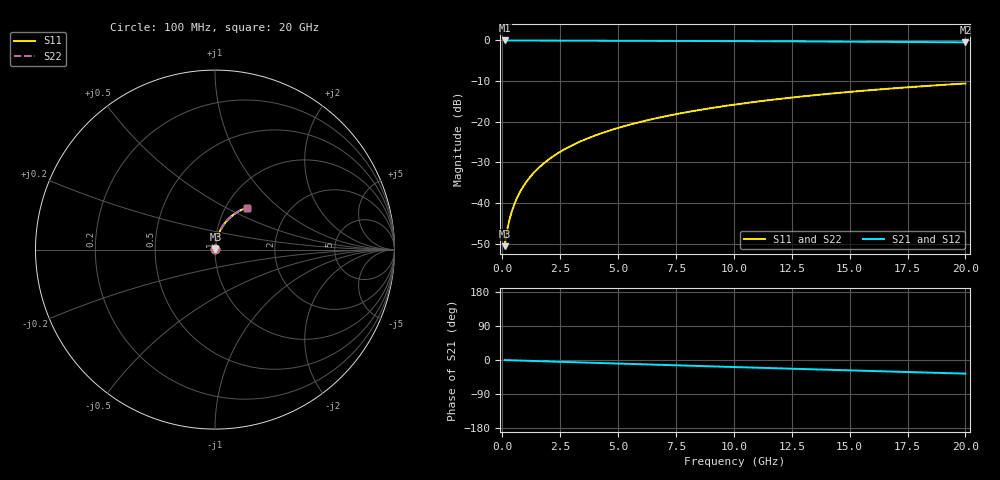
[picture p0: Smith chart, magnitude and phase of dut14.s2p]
! Touchstone file exported from HFSS 2026.1.0
!  File:  C:/ffzhzh/LocalFiles/Ansys_Project_Files/temp_val_BSMRDL_14_1782903282_43084.aedt
!  Generated:  06:55:55 PM Jul  1, 2026
!  Design:  BSMRDL
!  Project:  temp_val_BSMRDL_14_1782903282_43084
! Variables:
!  h_bsmrdl = 3.41um
!  h_ox = 20um
!  h_rdl = 5um
!  h_sub = 80um
!  h_tmrdl = 5um
!  h_tsv = 80um
!  h_via = 3um
!  l_bsmrdl = 530um
!  l_sub = 930um
!  l_tmrdl = 200um
!  m_sub = 200um
!  pitch = 51.17um
!  r_tsv = 6um
!  s_tmrdl = 10um
!  w_bsmrdl = 28.1um
!  w_sub = 500um
!  w_tmrdl = 12um
!  x_tsv_center1 = 206um
!  x_tsv_center2 = 764.1um
!  x_tsv_center3 = 976.1um
!  x_tsv_center4 = 1534.2um
!  x_tsv_center5 = 1746.2um
!  x_tsv_center6 = 2304.3um
# GHz S MA R 50.000000
! Terminal data exported
! Port[1] = BSM_RDL1_1_T1
! Port[2] = BSM_RDL1_1_T2
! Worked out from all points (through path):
!   200 points, 100 MHz to 20 GHz, reference 50 ohm
!   highest |S21| = -0.02 dB at 100 MHz (marker M1); lowest = -0.5 dB at 20 GHz (marker M2)
!   group delay of S21, straight-line fit = 4.99 ps
!   lowest |S11| = -50.6 dB at 100 MHz (marker M3), VSWR 1.01, Z = 50.2 + j0.194 ohm
!   |S11| at or under -10 dB: start of sweep to end of sweep
!   |S22| runs from -50.6 to -10.6 dB; largest |S21 - S12| = 3.1e-15
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0.1  0.002951 40.8  0.9978 -0.2  0.9978 -0.2  0.002951 40.8
! Gamma 0 0 0 0
! Port Impedance 50 0 50 0
0.2  0.00447 57.4  0.9976 -0.4  0.9976 -0.4  0.00447 57.4
0.3  0.00609 64.8  0.9974 -0.6  0.9974 -0.6  0.006091 64.8
0.4  0.007712 69.0  0.9973 -0.8  0.9973 -0.8  0.007712 69.0
0.5  0.009332 71.8  0.9972 -1.0  0.9972 -1.0  0.009332 71.8
0.6  0.01096 73.9  0.9971 -1.2  0.9971 -1.2  0.01096 73.9
0.8  0.01424 76.6  0.997 -1.5  0.997 -1.5  0.01424 76.6
1.1  0.01921 78.9  0.9968 -2.1  0.9968 -2.1  0.01921 78.9
1.3  0.02254 79.7  0.9967 -2.5  0.9967 -2.5  0.02254 79.7
1.6  0.02757 80.4  0.9965 -3.0  0.9965 -3.0  0.02757 80.4
2.1  0.03595 80.8  0.9961 -4.0  0.9961 -4.0  0.03595 80.8
2.7  0.046 80.5  0.9955 -5.1  0.9955 -5.1  0.046 80.5
3.5  0.05932 79.7  0.9945 -6.6  0.9945 -6.6  0.05932 79.7
4.2  0.07088 78.8  0.9934 -7.9  0.9934 -7.9  0.07088 78.8
5  0.08395 77.6  0.992 -9.4  0.992 -9.4  0.08395 77.5
5.9  0.09847 76.1  0.9903 -11.1  0.9903 -11.1  0.09847 76.1
6.8  0.1128 74.6  0.9883 -12.7  0.9883 -12.7  0.1128 74.6
8.3  0.1362 72.0  0.9847 -15.5  0.9847 -15.5  0.1362 72.0
10.1  0.1634 68.9  0.9799 -18.7  0.9799 -18.7  0.1634 68.9
13.4  0.2108 63.3  0.9698 -24.6  0.9698 -24.6  0.2108 63.3
16.7  0.2549 57.8  0.9585 -30.4  0.9585 -30.4  0.2549 57.7
20  0.2952 52.3  0.9464 -36.0  0.9464 -36.0  0.2952 52.3
